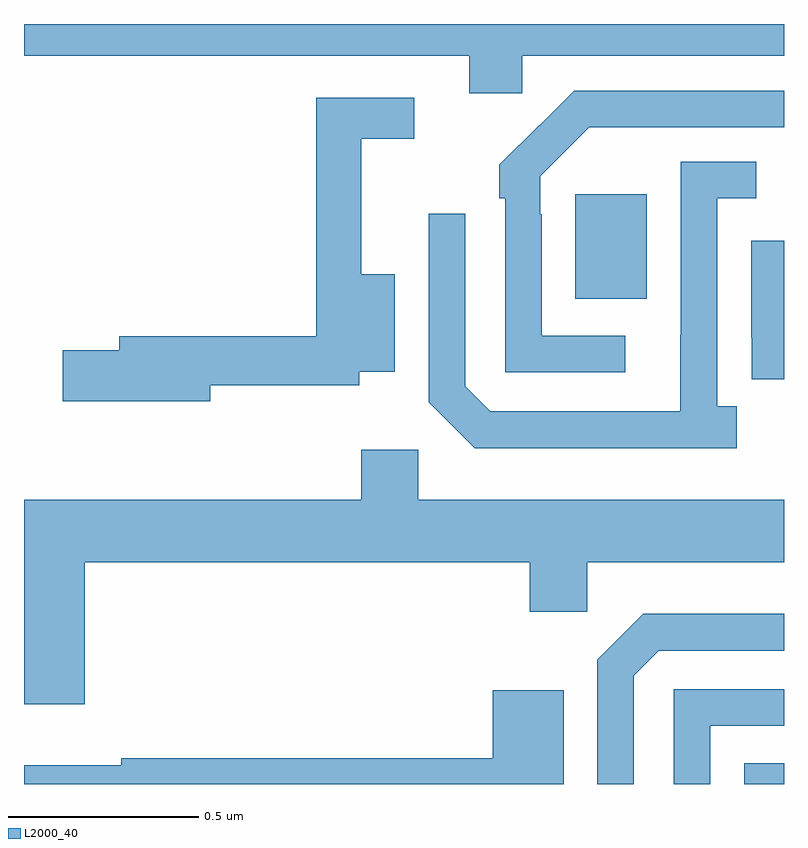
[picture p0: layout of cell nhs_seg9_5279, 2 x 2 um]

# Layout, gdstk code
import gdstk
lib = gdstk.Library(unit=1e-6, precision=1e-09)
def R(c, l, rs):  # rectangles x0, y0, x1, y1
    for r in rs: c.add(gdstk.rectangle(r[:2], r[2:], *l))
def P(c, l, *ps):  # polygons
    for p in ps: c.add(gdstk.Polygon(p, *l))
L2000_40 = (2000, 40)

nhs_seg9_5279 = lib.new_cell('nhs_seg9_5279')
R(nhs_seg9_5279, L2000_40, [(178.895,1198.5,179,1198.555), (178.451,1199.777,178.639,1200.052)])
P(nhs_seg9_5279, L2000_40, [(178.311,1200.416),(179,1200.416),(179,1200.5),(177,1200.5),(177,1200.416),(178.172,1200.416),(178.172,1200.318),(178.311,1200.318)],
  [(178.582,1199.679),(178.362,1199.679),(178.362,1199.999),(178.359,1199.999),(178.359,1200.099),(178.488,1200.228),(179,1200.228),(179,1200.324),(178.448,1200.324),(178.357,1200.233),(178.356,1200.234),(178.251,1200.129),(178.251,1200.041),(178.266,1200.041),(178.266,1199.583),(178.582,1199.583)],
  [(177.49,1199.55),(177.882,1199.55),(177.882,1199.585),(177.976,1199.585),(177.976,1199.842),(177.887,1199.842),(177.887,1200.198),(178.027,1200.198),(178.027,1200.306),(177.769,1200.306),(177.769,1199.678),(177.251,1199.678),(177.251,1199.642),(177.102,1199.642),(177.102,1199.507),(177.49,1199.507)],
  [(178.876,1199.494),(178.824,1199.494),(178.824,1200.042),(178.927,1200.042),(178.927,1200.138),(178.728,1200.138),(178.728,1199.681),(178.727,1199.681),(178.727,1199.481),(178.227,1199.481),(178.161,1199.547),(178.161,1200.001),(178.065,1200.001),(178.065,1199.505),(178.186,1199.384),(178.876,1199.384)],
  [(179,1199.929),(178.914,1199.929),(178.914,1199.674),(178.915,1199.674),(178.915,1199.565),(179,1199.565)],
  [(177.16,1199.084),(178.331,1199.084),(178.331,1198.953),(178.482,1198.953),(178.482,1199.084),(179,1199.084),(179,1199.248),(178.038,1199.248),(178.038,1199.38),(177.887,1199.38),(177.887,1199.248),(177,1199.248),(177,1198.71),(177.16,1198.71)],
  [(178.605,1198.785),(178.671,1198.851),(179,1198.851),(179,1198.948),(178.63,1198.948),(178.509,1198.827),(178.509,1198.5),(178.605,1198.5)],
  [(178.806,1198.653),(179,1198.653),(179,1198.749),(178.71,1198.749),(178.71,1198.5),(178.806,1198.5)],
  [(178.42,1198.747),(178.233,1198.747),(178.233,1198.568),(177.256,1198.568),(177.256,1198.549),(177,1198.549),(177,1198.5),(178.42,1198.5)])

lib.write_gds('nhs_seg9_5279.gds')
